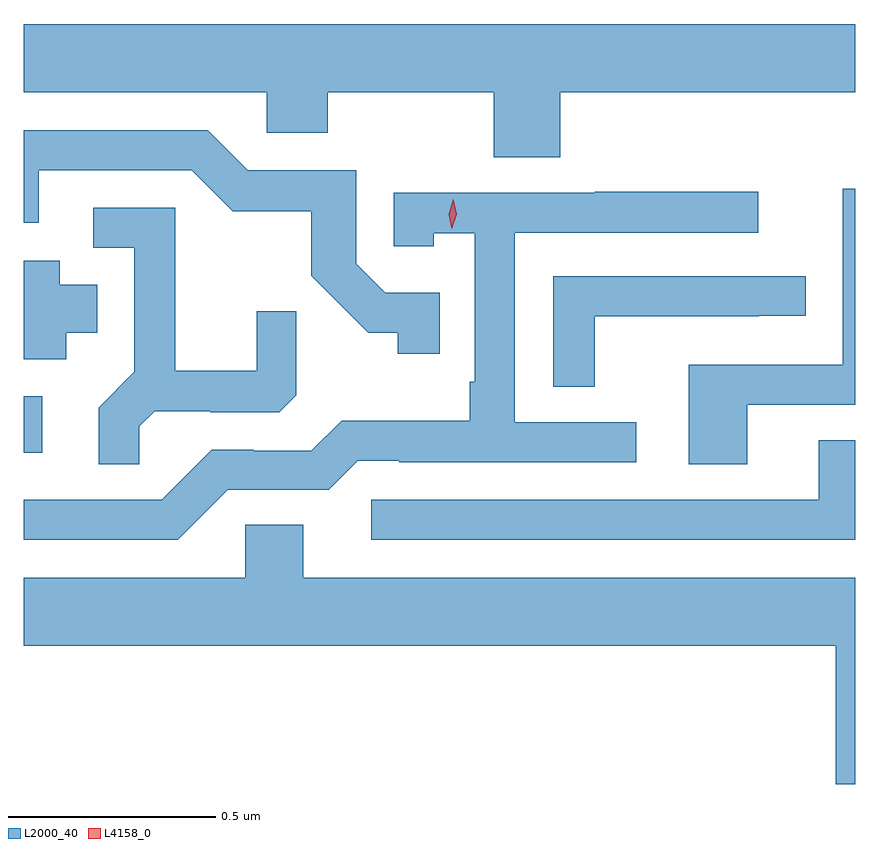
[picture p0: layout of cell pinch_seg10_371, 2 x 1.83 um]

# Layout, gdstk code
import gdstk
lib = gdstk.Library(unit=1e-6, precision=1e-09)
def R(c, l, rs):  # rectangles x0, y0, x1, y1
    for r in rs: c.add(gdstk.rectangle(r[:2], r[2:], *l))
def P(c, l, *ps):  # polygons
    for p in ps: c.add(gdstk.Polygon(p, *l))
L2000_40 = (2000, 40)
L4158_0 = (4158, 0)

pinch_seg10_371 = lib.new_cell('pinch_seg10_371')
R(pinch_seg10_371, L2000_40, [(408.733,1255.493,408.778,1255.629)])
P(pinch_seg10_371, L2000_40, [(408.733,1256.36),(409.317,1256.36),(409.317,1256.262),(409.464,1256.262),(409.464,1256.36),(409.864,1256.36),(409.864,1256.203),(410.024,1256.203),(410.024,1256.36),(410.733,1256.36),(410.733,1256.524),(408.733,1256.524)],
  [(409.733,1255.878),(409.602,1255.878),(409.533,1255.947),(409.533,1256.172),(409.272,1256.172),(409.176,1256.268),(408.733,1256.268),(408.733,1256.046),(408.769,1256.046),(408.769,1256.172),(409.137,1256.172),(409.236,1256.074),(409.425,1256.074),(409.425,1255.918),(409.562,1255.781),(409.632,1255.781),(409.632,1255.731),(409.733,1255.731)],
  [(410.473,1255.608),(410.733,1255.608),(410.733,1256.128),(410.703,1256.128),(410.703,1255.704),(410.333,1255.704),(410.333,1255.465),(410.473,1255.465)],
  [(409.224,1255.404),(409.467,1255.404),(409.536,1255.473),(409.636,1255.473),(409.636,1255.47),(410.206,1255.47),(410.206,1255.566),(409.914,1255.566),(409.914,1256.022),(410.5,1256.022),(410.5,1256.121),(410.107,1256.121),(410.107,1256.118),(409.623,1256.118),(409.623,1255.989),(409.719,1255.989),(409.719,1256.021),(409.818,1256.021),(409.818,1255.663),(409.806,1255.663),(409.806,1255.57),(409.498,1255.57),(409.425,1255.497),(409.286,1255.497),(409.286,1255.5),(409.185,1255.5),(409.065,1255.38),(408.733,1255.38),(408.733,1255.284),(409.104,1255.284)],
  [(409.011,1255.556),(409.048,1255.593),(409.182,1255.593),(409.182,1255.59),(409.347,1255.59),(409.388,1255.631),(409.388,1255.833),(409.294,1255.833),(409.294,1255.69),(409.097,1255.69),(409.097,1256.082),(408.9,1256.082),(408.9,1255.986),(408.999,1255.986),(408.999,1255.687),(408.913,1255.601),(408.913,1255.465),(409.011,1255.465)],
  [(408.835,1255.781),(408.91,1255.781),(408.91,1255.897),(408.82,1255.897),(408.82,1255.954),(408.733,1255.954),(408.733,1255.718),(408.835,1255.718)],
  [(410.106,1255.821),(410.501,1255.821),(410.501,1255.822),(410.614,1255.822),(410.614,1255.917),(410.007,1255.917),(410.007,1255.651),(410.106,1255.651)],
  [(410.733,1255.523),(410.645,1255.523),(410.645,1255.38),(409.569,1255.38),(409.569,1255.284),(410.733,1255.284)],
  [(410.733,1255.192),(409.405,1255.192),(409.405,1255.319),(409.266,1255.319),(409.266,1255.192),(408.733,1255.192),(408.733,1255.028),(410.686,1255.028),(410.686,1254.696),(410.733,1254.696)])
P(pinch_seg10_371, L4158_0, [(409.763,1256.031),(409.763,1256.031),(409.755,1256.067),(409.766,1256.103),(409.766,1256.103),(409.766,1256.103),(409.775,1256.066),(409.763,1256.031)])

lib.write_gds('pinch_seg10_371.gds')
